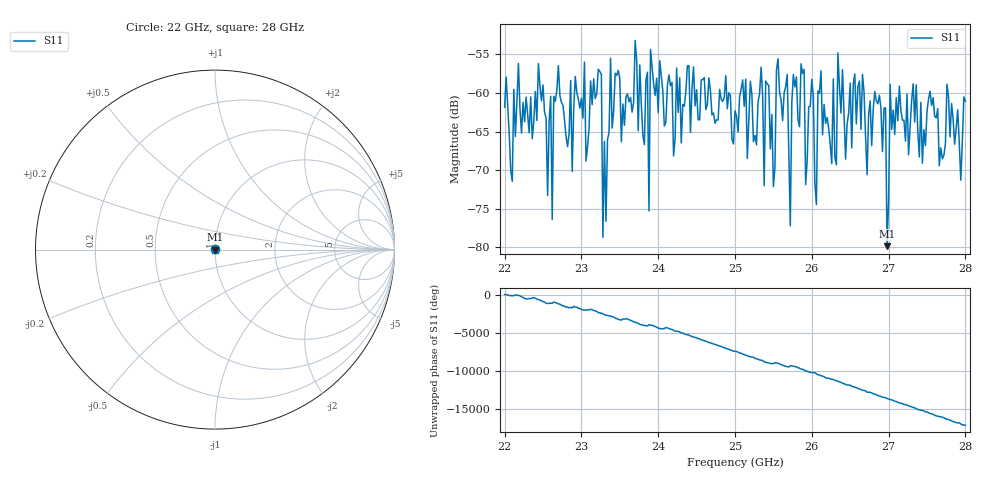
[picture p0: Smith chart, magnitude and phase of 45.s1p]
#  HZ  S  RI  R  50.00
! Rohde & Schwarz ZVA40 4Ports - Version 3.90 - 1145.1110k42 SN: 100403
! Date: 2023-10-04 06:44:08
! Measurement: S12
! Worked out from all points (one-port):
!   301 points, 22 GHz to 28 GHz, reference 50 ohm
!   lowest |S11| = -79.9 dB at 26.98 GHz (marker M1), VSWR 1.00, Z = 50 + j0.00805 ohm
!   |S11| at or under -10 dB: start of sweep to end of sweep
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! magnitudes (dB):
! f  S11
! 22 GHz  -61.8
! 22.44 GHz  -56.2
! 22.56 GHz  -73.3
! 22.6 GHz  -60.4
! 22.62 GHz  -76.4
! 22.64 GHz  -60.4
! 22.76 GHz  -61.6
! 23.26 GHz  -57.6
! 23.28 GHz  -78.7
! 23.38 GHz  -55.5
! 23.5 GHz  -58.1
! 23.86 GHz  -57.3
! 23.88 GHz  -75.3
! 23.9 GHz  -54.4
! 24.26 GHz  -62.5
! 25 GHz  -62.3
! 25.5 GHz  -72.1
! 25.68 GHz  -57.6
! 25.72 GHz  -77.2
! 25.76 GHz  -57.6
! 26.06 GHz  -74.5
! 26.12 GHz  -57.1
! 26.5 GHz  -58.7
! 26.96 GHz  -61.9
! 26.98 GHz  -79.9
! 27.02 GHz  -58.9
! 27.26 GHz  -68.0
! 28 GHz  -61.1
